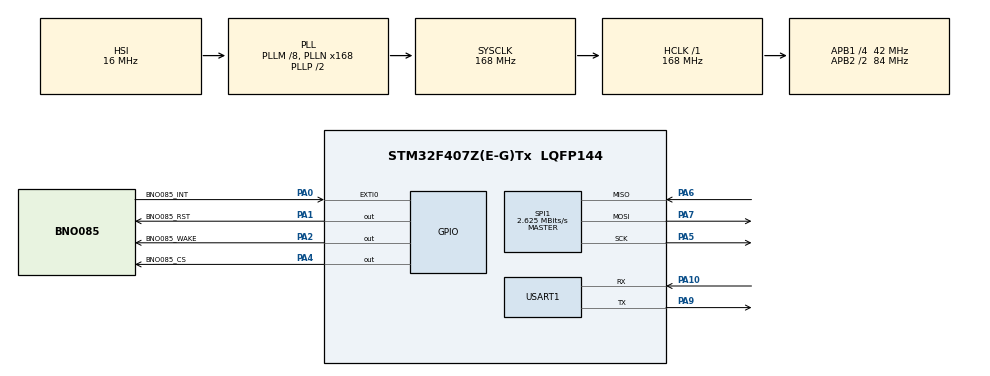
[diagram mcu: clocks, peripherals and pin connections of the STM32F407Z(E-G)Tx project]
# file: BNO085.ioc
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Dma.Request0=SPI1_RX
Dma.Request1=SPI1_TX
Dma.SPI1_RX.0.Direction=DMA_PERIPH_TO_MEMORY
Dma.SPI1_RX.0.FIFOMode=DMA_FIFOMODE_DISABLE
Dma.SPI1_RX.0.Instance=DMA2_Stream0
Dma.SPI1_RX.0.MemDataAlignment=DMA_MDATAALIGN_BYTE
Dma.SPI1_RX.0.MemInc=DMA_MINC_ENABLE
Dma.SPI1_RX.0.Mode=DMA_NORMAL
Dma.SPI1_RX.0.PeriphDataAlignment=DMA_PDATAALIGN_BYTE
Dma.SPI1_RX.0.PeriphInc=DMA_PINC_DISABLE
Dma.SPI1_RX.0.Priority=DMA_PRIORITY_HIGH
Dma.SPI1_TX.1.Direction=DMA_MEMORY_TO_PERIPH
Dma.SPI1_TX.1.FIFOMode=DMA_FIFOMODE_DISABLE
Dma.SPI1_TX.1.Instance=DMA2_Stream3
Dma.SPI1_TX.1.MemDataAlignment=DMA_MDATAALIGN_BYTE
Dma.SPI1_TX.1.MemInc=DMA_MINC_ENABLE
Dma.SPI1_TX.1.Mode=DMA_NORMAL
Dma.SPI1_TX.1.PeriphDataAlignment=DMA_PDATAALIGN_BYTE
Dma.SPI1_TX.1.PeriphInc=DMA_PINC_DISABLE
Dma.SPI1_TX.1.Priority=DMA_PRIORITY_HIGH
Mcu.Family=STM32F4
Mcu.Name=STM32F407Z(E-G)Tx
Mcu.Package=LQFP144
NVIC.DMA2_Stream0_IRQn=true\:1\:0\:false\:false\:true\:false\:true\:true
NVIC.DMA2_Stream3_IRQn=true\:1\:0\:false\:false\:true\:false\:true\:true
NVIC.EXTI0_IRQn=true\:2\:0\:true\:false\:true\:true\:true\:true
NVIC.PriorityGroup=NVIC_PRIORITYGROUP_4
PA0-WKUP.GPIO_Label=BNO085_INT
PA0-WKUP.GPIO_ModeDefaultEXTI=GPIO_MODE_IT_FALLING
PA0-WKUP.GPIO_PuPd=GPIO_PULLUP
PA0-WKUP.Signal=GPXTI0
PA1.GPIO_Label=BNO085_RST
PA1.GPIO_PuPd=GPIO_PULLUP
PA1.GPIO_Speed=GPIO_SPEED_FREQ_HIGH
PA1.PinState=GPIO_PIN_SET
PA1.Signal=GPIO_Output
PA10.Mode=Asynchronous
PA10.Signal=USART1_RX
PA13.Mode=Serial_Wire
PA13.Signal=SYS_JTMS-SWDIO
PA14.Mode=Serial_Wire
PA14.Signal=SYS_JTCK-SWCLK
PA2.GPIO_Label=BNO085_WAKE
PA2.GPIO_Speed=GPIO_SPEED_FREQ_HIGH
PA2.PinState=GPIO_PIN_SET
PA2.Signal=GPIO_Output
PA4.GPIO_Label=BNO085_CS
PA4.GPIO_PuPd=GPIO_PULLUP
PA4.GPIO_Speed=GPIO_SPEED_FREQ_HIGH
PA4.PinState=GPIO_PIN_SET
PA4.Signal=GPIO_Output
PA5.Mode=Full_Duplex_Master
PA5.Signal=SPI1_SCK
PA6.Mode=Full_Duplex_Master
PA6.Signal=SPI1_MISO
PA7.Mode=Full_Duplex_Master
PA7.Signal=SPI1_MOSI
PA9.Mode=Asynchronous
PA9.Signal=USART1_TX
PH0-OSC_IN.Mode=HSE-External-Oscillator
PH0-OSC_IN.Signal=RCC_OSC_IN
PH1-OSC_OUT.Mode=HSE-External-Oscillator
PH1-OSC_OUT.Signal=RCC_OSC_OUT
ProjectManager.HeapSize=0x200
ProjectManager.StackSize=0x400
ProjectManager.TargetToolchain=MDK-ARM V5.32
RCC.48MHZClocksFreq_Value=84000000
RCC.AHBFreq_Value=168000000
RCC.APB1CLKDivider=RCC_HCLK_DIV4
RCC.APB1Freq_Value=42000000
RCC.APB1TimFreq_Value=84000000
RCC.APB2CLKDivider=RCC_HCLK_DIV2
RCC.APB2Freq_Value=84000000
RCC.APB2TimFreq_Value=168000000
RCC.CortexFreq_Value=168000000
RCC.HCLKFreq_Value=168000000
RCC.HSE_VALUE=12000000
RCC.HSI_VALUE=16000000
RCC.LSE_VALUE=32768
RCC.PLLM=8
RCC.PLLN=168
RCC.SYSCLKFreq_VALUE=168000000
RCC.SYSCLKSource=RCC_SYSCLKSOURCE_PLLCLK
RCC.VCOOutputFreq_Value=336000000
SPI1.BaudRatePrescaler=SPI_BAUDRATEPRESCALER_32
SPI1.CLKPhase=SPI_PHASE_2EDGE
SPI1.CLKPolarity=SPI_POLARITY_HIGH
SPI1.CalculateBaudRate=2.625 MBits/s
SPI1.Direction=SPI_DIRECTION_2LINES
SPI1.Mode=SPI_MODE_MASTER
SPI1.VirtualType=VM_MASTER
USART1.VirtualMode=VM_ASYNC
board=custom

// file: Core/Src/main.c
/* USER CODE BEGIN Header */
/**
  ******************************************************************************
  * @file           : main.c
  * @brief          : Main program body
  ******************************************************************************
  * @attention
  *
  * Copyright (c) 2026 STMicroelectronics.
  * All rights reserved.
  *
  * This software is licensed under terms that can be found in the LICENSE file
  * in the root directory of this software component.
  * If no LICENSE file comes with this software, it is provided AS-IS.
  *
  ******************************************************************************
  */
/* USER CODE END Header */
#include "main.h"
#include "spi.h"
#include "usart.h"
#include "gpio.h"

/* USER CODE BEGIN Includes */
#include "bno085.h"
#include "bno085_port_stm32.h"
#include <stdio.h>
/* USER CODE END Includes */

/* USER CODE BEGIN PD */
#define BNO085_REPORT_INTERVAL_US  10000U
#define BNO085_MAG_INTERVAL_US     40000U
#define BNO085_YPR_PRINT_DIVIDER       4U
#define BNO085_SOFT_ERROR_LIMIT        3U
/* Set to 1 only when validating every optional report; normal demo stays lean.
   仅在验证全部可选报告时设为 1；日常示例保持较低总线负载。 */
#define BNO085_EXTENDED_VALIDATION     0U
/* USER CODE END PD */

/* USER CODE BEGIN PV */
static BNO085_ProductInfo_t product_info;
static uint32_t last_rotation_ms;
static float yaw_deg;
static float roll_deg;
static float pitch_deg;
static uint32_t rv_events_per_second;
static uint32_t game_events_per_second;
static uint32_t accel_events_per_second;
static uint32_t gyro_events_per_second;
static uint32_t mag_events_per_second;
static uint32_t stats_start_ms;
static uint32_t ypr_print_divider;
static uint32_t consecutive_transport_errors;
/* USER CODE END PV */

void SystemClock_Config(void);
/* USER CODE BEGIN PFP */
static void BNO085_Start(void);
static void bno085_process(void);
/* USER CODE END PFP */

/* USER CODE BEGIN 0 */
/**
 * @brief Configure, identify and start all demo SH-2 reports.
 *        配置平台层、读取产品信息，并启动示例所需的全部报告。
  *
  * This function retries the complete sequence after any startup failure.
  * 任一步启动失败都会延时后重新执行完整初始化流程。
  */
static void BNO085_Start(void)
{
  BNO085_STM32_PortConfig_t port;
  BNO085_Config_t driver_config;
  BNO085_Status_t status;

  /* Only this application/port boundary knows STM32 handles and GPIO pins.
     只有应用与适配层边界知道 STM32 句柄和具体引脚。 */
  port.spi = &hspi1;
  port.cs_port = BNO085_CS_GPIO_Port;
  port.cs_pin = BNO085_CS_Pin;
  port.wake_port = BNO085_WAKE_GPIO_Port;
  port.wake_pin = BNO085_WAKE_Pin;
  port.reset_port = BNO085_RST_GPIO_Port;
  port.reset_pin = BNO085_RST_Pin;
  port.interrupt_port = BNO085_INT_GPIO_Port;
  port.interrupt_pin = BNO085_INT_Pin;

  if (!BNO085_STM32_Port_Init(&port))
  {
    printf("BNO085 platform configuration is invalid\r\n");
    Error_Handler();
  }

  for (;;)
  {
    /* Hardware reset -> SHTP advertisement -> executable reset-complete.
       硬复位 -> SHTP 广告包 -> executable 通道启动完成。 */
    /* Start from portable defaults; applications may tune policy here without
       editing the protocol core. / 从默认策略开始，应用可集中调整超时与重试。 */
    BNO085_GetDefaultConfig(&driver_config);
    status = BNO085_InitWithConfig(&driver_config);
    if (status != BNO085_OK)
    {
      printf("BNO085 init failed: %s (%d)\r\n",
             BNO085_StatusString(status), status);
      HAL_Delay(1000U);
      continue;
    }

    /* Product ID proves channel 2 host-to-device commands work correctly.
       Product ID 成功说明 channel 2 的双向控制通信正常。 */
    status = BNO085_GetProductInfo(&product_info);
    if (status != BNO085_OK)
    {
      printf("BNO085 product ID failed: %s (%d)\r\n",
             BNO085_StatusString(status), status);
      HAL_Delay(1000U);
      continue;
    }

    printf("BNO085 part %lu, FW %u.%u.%u, build %lu, reset %u\r\n",
           product_info.sw_part_number,
           product_info.sw_major,
           product_info.sw_minor,
           product_info.sw_patch,
           product_info.build_number,
           product_info.reset_cause);

    /* Explicitly enable the three normal dynamic calibrators. The command
       response is matched before startup continues. / 显式启用三类常规动态
       校准，并等待匹配的命令响应后再继续启动。 */
    status = BNO085_SetCalibration(BNO085_CAL_ACCELEROMETER |
                                   BNO085_CAL_GYROSCOPE |
                                   BNO085_CAL_MAGNETOMETER |
                                   BNO085_CAL_ON_TABLE);
    if (status != BNO085_OK)
    {
      printf("BNO085 calibration configuration failed: %s (%d)\r\n",
             BNO085_StatusString(status), status);
      HAL_Delay(1000U);
      continue;
    }

    /* Enable the lower-rate magnetic report first.  Subsequent Set Feature
       writes can then fit into gaps between sensor packets more reliably.
       先启用低速磁场报告，让后续配置命令更容易落在报告间隙中。 */
    status = BNO085_EnableMagnetometer(BNO085_MAG_INTERVAL_US);
    if (status != BNO085_OK)
    {
      BNO085_Diagnostics_t diagnostics;
      printf("BNO085 magnetometer enable failed: %s (%d)\r\n",
             BNO085_StatusString(status), status);
      if (BNO085_GetDiagnostics(&diagnostics) == BNO085_OK)
      {
        printf("Feature 0x%02X req/actual: int=%lu/%lu batch=%lu/%lu "
               "sens=%u/%u spec=%lu/%lu flags=0x%02X/0x%02X\r\n",
               diagnostics.last_feature_id,
               diagnostics.requested_interval_us,
               diagnostics.effective_interval_us,
               diagnostics.requested_batch_interval_us,
               diagnostics.effective_batch_interval_us,
               diagnostics.requested_change_sensitivity,
               diagnostics.effective_change_sensitivity,
               diagnostics.requested_sensor_specific,
               diagnostics.effective_sensor_specific,
               diagnostics.requested_feature_flags,
               diagnostics.effective_feature_flags);
      }
      HAL_Delay(1000U);
      continue;
    }

    status = BNO085_EnableGyroscope(BNO085_REPORT_INTERVAL_US);
    if (status != BNO085_OK)
    {
      printf("BNO085 gyroscope enable failed: %s (%d)\r\n",
             BNO085_StatusString(status), status);
      HAL_Delay(1000U);
      continue;
    }

    status = BNO085_EnableGameRotationVector(BNO085_REPORT_INTERVAL_US);
    if (status != BNO085_OK)
    {
      printf("BNO085 game rotation vector enable failed: %s (%d)\r\n",
             BNO085_StatusString(status), status);
      HAL_Delay(1000U);
      continue;
    }

    /* Set Feature interval is in microseconds: 10000 us = 100 Hz.
       Set Feature 周期单位为微秒：10000 us 即 100 Hz。 */
    status = BNO085_EnableAccelerometer(BNO085_REPORT_INTERVAL_US);
    if (status != BNO085_OK)
    {
      BNO085_Diagnostics_t diagnostics;
      printf("BNO085 accelerometer enable failed: %s (%d)\r\n",
             BNO085_StatusString(status), status);
      if (BNO085_GetDiagnostics(&diagnostics) == BNO085_OK)
      {
        printf("Feature 0x%02X interval requested=%lu actual=%lu us\r\n",
               diagnostics.last_feature_id,
               diagnostics.requested_interval_us,
               diagnostics.effective_interval_us);
      }
      HAL_Delay(1000U);
      continue;
    }

    status = BNO085_EnableRotationVector(BNO085_REPORT_INTERVAL_US);
    if (status != BNO085_OK)
    {
      printf("BNO085 enable command failed: %s (%d)\r\n",
             BNO085_StatusString(status), status);
      HAL_Delay(1000U);
      continue;
    }

#if BNO085_EXTENDED_VALIDATION
    status = BNO085_EnableLinearAcceleration(BNO085_MAG_INTERVAL_US);
    if (status == BNO085_OK) status = BNO085_EnableGravity(BNO085_MAG_INTERVAL_US);
    if (status == BNO085_OK) status = BNO085_EnableUncalibratedGyroscope(BNO085_MAG_INTERVAL_US);
    if (status == BNO085_OK) status = BNO085_EnableUncalibratedMagnetometer(BNO085_MAG_INTERVAL_US);
    if (status == BNO085_OK) status = BNO085_EnableRawAccelerometer(BNO085_MAG_INTERVAL_US);
    if (status == BNO085_OK) status = BNO085_EnableRawGyroscope(BNO085_MAG_INTERVAL_US);
    if (status == BNO085_OK) status = BNO085_EnableRawMagnetometer(BNO085_MAG_INTERVAL_US);
    if (status != BNO085_OK)
    {
      printf("BNO085 extended report enable failed: %s (%d)\r\n",
             BNO085_StatusString(status), status);
      HAL_Delay(1000U);
      continue;
    }
#endif

    /* Do not regard a successful Set Feature write as proof of sensor output.
       Wait until every enabled report has actually been decoded and cached.
       Set Feature 写成功不等于已有数据，所有已启用报告都真正到达后才算启动成功。 */
    {
      uint32_t start_ms = HAL_GetTick();
      uint32_t events = 0U;
      uint32_t seen_events = 0U;
      float accel_x;
      float accel_y;
      float accel_z;
      BNO085_Gyroscope_t gyro;
      BNO085_Magnetometer_t mag;
      BNO085_Euler_t game_euler;
      uint32_t required_events =
          BNO085_EVENT_ROTATION_VECTOR |
          BNO085_EVENT_GAME_ROTATION_VECTOR |
          BNO085_EVENT_ACCELEROMETER |
          BNO085_EVENT_GYROSCOPE |
          BNO085_EVENT_MAGNETOMETER;
#if BNO085_EXTENDED_VALIDATION
      required_events |= BNO085_EVENT_LINEAR_ACCELERATION |
                         BNO085_EVENT_GRAVITY |
                         BNO085_EVENT_GYROSCOPE_UNCAL |
                         BNO085_EVENT_MAGNETOMETER_UNCAL |
                         BNO085_EVENT_RAW_ACCELEROMETER |
                         BNO085_EVENT_RAW_GYROSCOPE |
                         BNO085_EVENT_RAW_MAGNETOMETER;
#endif

      do
      {
        status = BNO085_Poll(1000U, &events);
        if (status == BNO085_OK)
        {
          /* A cargo can contain one or both enabled reports. / 一个包可含一种或两种报告。 */
          seen_events |= events;
        }
      } while ((status == BNO085_OK) &&
               ((seen_events & required_events) != required_events) &&
               ((uint32_t)(HAL_GetTick() - start_ms) < 2000U));

      /* These six calls read cache only; no additional SPI transactions.
         这六个 Getter 只读缓存，不会再次访问 SPI。 */
      if ((status == BNO085_OK) &&
          (BNO085_GetYaw(&yaw_deg) == BNO085_OK) &&
          (BNO085_GetRoll(&roll_deg) == BNO085_OK) &&
          (BNO085_GetPitch(&pitch_deg) == BNO085_OK) &&
          (BNO085_GetAccelerationX(&accel_x) == BNO085_OK) &&
          (BNO085_GetAccelerationY(&accel_y) == BNO085_OK) &&
          (BNO085_GetAccelerationZ(&accel_z) == BNO085_OK) &&
          (BNO085_GetGyroscope(&gyro) == BNO085_OK) &&
          (BNO085_GetMagnetometer(&mag) == BNO085_OK) &&
          (BNO085_GetGameEuler(&game_euler) == BNO085_OK))
      {
        printf("ACC: x=%6.2f y=%6.2f z=%6.2f m/s^2\r\n",
               accel_x, accel_y, accel_z);
        printf("GYRO: x=%6.3f y=%6.3f z=%6.3f rad/s acc=%u\r\n",
               gyro.x_rps, gyro.y_rps, gyro.z_rps, gyro.accuracy);
        printf("MAG: x=%6.2f y=%6.2f z=%6.2f uT acc=%u\r\n",
               mag.x_uT, mag.y_uT, mag.z_uT, mag.accuracy);
        printf("GAME YPR: yaw=%7.2f roll=%7.2f pitch=%7.2f deg\r\n",
               game_euler.yaw_deg, game_euler.roll_deg,
               game_euler.pitch_deg);
#if BNO085_EXTENDED_VALIDATION
        {
          BNO085_LinearAcceleration_t linear;
          BNO085_Gravity_t gravity;
          BNO085_UncalibratedGyroscope_t uncal_gyro;
          BNO085_UncalibratedMagnetometer_t uncal_mag;
          BNO085_RawVector_t raw_accel, raw_mag;
          BNO085_RawGyroscope_t raw_gyro;
          if ((BNO085_GetLinearAcceleration(&linear) == BNO085_OK) &&
              (BNO085_GetGravity(&gravity) == BNO085_OK) &&
              (BNO085_GetUncalibratedGyroscope(&uncal_gyro) == BNO085_OK) &&
              (BNO085_GetUncalibratedMagnetometer(&uncal_mag) == BNO085_OK) &&
              (BNO085_GetRawAccelerometer(&raw_accel) == BNO085_OK) &&
              (BNO085_GetRawGyroscope(&raw_gyro) == BNO085_OK) &&
              (BNO085_GetRawMagnetometer(&raw_mag) == BNO085_OK))
          {
            printf("EXT OK: lin=%.2f grav=%.2f gyro_bias=%.3f mag_bias=%.2f raw=%d/%d/%d\r\n",
                   linear.x_mps2, gravity.z_mps2,
                   uncal_gyro.bias_x_rps, uncal_mag.bias_x_uT,
                   raw_accel.x_counts, raw_gyro.x_counts, raw_mag.x_counts);
          }
          else
          {
            status = BNO085_ERR_NO_DATA;
          }
        }
#endif
      }
      else if (status == BNO085_OK)
      {
        status = BNO085_ERR_TIMEOUT;
      }
    }

    if (status == BNO085_OK)
    {
      printf("BNO085 DMA stream: RV/GAME/ACC/GYRO=100 Hz, MAG=25 Hz\r\n");
      last_rotation_ms = HAL_GetTick();
      stats_start_ms = last_rotation_ms;
      rv_events_per_second = 0U;
      game_events_per_second = 0U;
      accel_events_per_second = 0U;
      gyro_events_per_second = 0U;
      mag_events_per_second = 0U;
      ypr_print_divider = 0U;
      consecutive_transport_errors = 0U;
      return;
    }

    printf("BNO085 produced no required sensor data: %s (%d)\r\n",
           BNO085_StatusString(status), status);
    HAL_Delay(1000U);
  }
}

/**
 * @brief Advance BNO085 DMA I/O and handle all application-level events.
 *        推进 BNO085 DMA 收包，并集中处理数据、统计和故障恢复。
 *
 * This function never waits for SPI completion.  When DMA is not ready,
 * BNO085_PollAsync() returns BNO085_PENDING and the caller can immediately
 * continue with other application work.
 * 本函数不等待 SPI；DMA 尚未完成时立即返回，主循环可继续处理其他任务。
 */
static void bno085_process(void)
{
  uint32_t events = 0U;
  BNO085_Status_t status = BNO085_Process(&events);

  if ((status != BNO085_OK) && (status != BNO085_PENDING))
  {
    BNO085_Diagnostics_t diagnostics;

    printf("BNO085 read failed: %s (%d)\r\n",
           BNO085_StatusString(status), status);
    consecutive_transport_errors++;
    if (consecutive_transport_errors >= BNO085_SOFT_ERROR_LIMIT)
    {
      /* Tier 2: rebuild only SPI/DMA. SH-2 keeps its enabled reports, making
         this much cheaper than a sensor reset. / 二级恢复：只重建 SPI/DMA。 */
      BNO085_Status_t recovery = BNO085_RecoverTransport();
      if (BNO085_GetDiagnostics(&diagnostics) == BNO085_OK)
      {
        printf("BNO085 transport recovery: %s, HAL=0x%08lX\r\n",
               BNO085_StatusString(recovery), diagnostics.port_raw_error);
      }
      consecutive_transport_errors = 0U;
    }
  }
  else if (status == BNO085_OK)
  {
    /* One good complete packet proves framing and DMA are synchronized again.
       一个完整好包说明总线和 DMA 已恢复同步。 */
    consecutive_transport_errors = 0U;
  }

  /* Count decoded reports for a simple one-second hardware sanity check.
     统计每秒报告数，直接验证 Set Feature 与 DMA 收包是否正常。 */
  if ((events & BNO085_EVENT_ACCELEROMETER) != 0U) accel_events_per_second++;
  if ((events & BNO085_EVENT_GYROSCOPE) != 0U) gyro_events_per_second++;
  if ((events & BNO085_EVENT_MAGNETOMETER) != 0U) mag_events_per_second++;
  if ((events & BNO085_EVENT_GAME_ROTATION_VECTOR) != 0U) game_events_per_second++;

  if ((status == BNO085_OK) &&
      ((events & BNO085_EVENT_ROTATION_VECTOR) != 0U) &&
      (BNO085_GetYaw(&yaw_deg) == BNO085_OK) &&
      (BNO085_GetRoll(&roll_deg) == BNO085_OK) &&
      (BNO085_GetPitch(&pitch_deg) == BNO085_OK))
  {
    /* All three angles belong to one cached rotation-vector frame.
       三个角度均来自同一帧缓存。 */
    last_rotation_ms = HAL_GetTick();
    rv_events_per_second++;
    ypr_print_divider++;
    if (ypr_print_divider >= BNO085_YPR_PRINT_DIVIDER)
    {
      ypr_print_divider = 0U;
      printf("YPR: yaw=%7.2f roll=%7.2f pitch=%7.2f deg\r\n",
             yaw_deg, roll_deg, pitch_deg);
    }
  }

  if ((uint32_t)(HAL_GetTick() - stats_start_ms) >= 1000U)
  {
    BNO085_Gyroscope_t gyro;
    BNO085_Magnetometer_t mag;
    BNO085_Euler_t game_euler;
    BNO085_Diagnostics_t diagnostics;

    printf("RATE/s: rv=%lu game=%lu acc=%lu gyro=%lu mag=%lu\r\n",
           rv_events_per_second, game_events_per_second,
           accel_events_per_second, gyro_events_per_second,
           mag_events_per_second);
    if ((BNO085_GetGyroscope(&gyro) == BNO085_OK) &&
        (BNO085_GetMagnetometer(&mag) == BNO085_OK) &&
        (BNO085_GetGameEuler(&game_euler) == BNO085_OK))
    {
      printf("GYRO[%u]: %6.3f %6.3f %6.3f rad/s  MAG[%u]: %6.2f %6.2f %6.2f uT\r\n",
             gyro.accuracy, gyro.x_rps, gyro.y_rps, gyro.z_rps,
             mag.accuracy, mag.x_uT, mag.y_uT, mag.z_uT);
      printf("GAME YPR: yaw=%7.2f roll=%7.2f pitch=%7.2f deg\r\n",
             game_euler.yaw_deg, game_euler.roll_deg,
             game_euler.pitch_deg);
    }
    if (BNO085_GetDiagnostics(&diagnostics) == BNO085_OK)
    {
      printf("DIAG: pkt=%lu shtp_gap=%lu sensor_gap=%lu bad=%lu cont=%lu io=%lu dma_to=%lu recover=%lu reset=%lu\r\n",
             diagnostics.shtp_packets, diagnostics.shtp_sequence_gaps,
             diagnostics.sensor_sequence_gaps,
             diagnostics.invalid_packets, diagnostics.continuation_packets,
             diagnostics.port_errors, diagnostics.dma_timeouts,
             diagnostics.transport_recoveries, diagnostics.hard_resets);
    }
    stats_start_ms = HAL_GetTick();
    rv_events_per_second = 0U;
    game_events_per_second = 0U;
    accel_events_per_second = 0U;
    gyro_events_per_second = 0U;
    mag_events_per_second = 0U;
  }

  /* Other reports may continue while Rotation Vector stalls, so recovery is
     based specifically on the last Rotation Vector event.
     其他报告仍可能到达，故恢复仅以最后姿态帧为准。 */
  if ((uint32_t)(HAL_GetTick() - last_rotation_ms) >= 1000U)
  {
    printf("BNO085: no rotation data for 1 second, restarting\r\n");
    BNO085_Start();
  }
}
/* USER CODE END 0 */

int main(void)
{

  /* MCU Configuration--------------------------------------------------------*/

  /* Reset of all peripherals, Initializes the Flash interface and the Systick. */
  HAL_Init();

  /* Configure the system clock */
  SystemClock_Config();

  /* Initialize all configured peripherals */
  MX_GPIO_Init();
  MX_USART1_UART_Init();
  MX_SPI1_Init();
  printf("BNO085 demo boot (SPI DMA)\r\n");
  /* USER CODE BEGIN 2 */
  BNO085_Start();
  /* USER CODE END 2 */

  /* Infinite loop */
  /* USER CODE BEGIN WHILE */
  while (1)
  {
    /* Non-blocking service: unfinished DMA returns immediately.
       非阻塞服务：DMA 未完成就立即返回。 */
    bno085_process();
    /* USER CODE END WHILE */

  }
}

void SystemClock_Config(void)
{
  RCC_OscInitTypeDef RCC_OscInitStruct = {0};
  RCC_ClkInitTypeDef RCC_ClkInitStruct = {0};

  /** Configure the main internal regulator output voltage
  */
  __HAL_RCC_PWR_CLK_ENABLE();
  __HAL_PWR_VOLTAGESCALING_CONFIG(PWR_REGULATOR_VOLTAGE_SCALE1);

  /** Initializes the RCC Oscillators according to the specified parameters
  * in the RCC_OscInitTypeDef structure.
  */
  RCC_OscInitStruct.OscillatorType = RCC_OSCILLATORTYPE_HSI;
  RCC_OscInitStruct.HSIState = RCC_HSI_ON;
  RCC_OscInitStruct.HSICalibrationValue = RCC_HSICALIBRATION_DEFAULT;
  RCC_OscInitStruct.PLL.PLLState = RCC_PLL_ON;
  RCC_OscInitStruct.PLL.PLLSource = RCC_PLLSOURCE_HSI;
  RCC_OscInitStruct.PLL.PLLM = 8;
  RCC_OscInitStruct.PLL.PLLN = 168;
  RCC_OscInitStruct.PLL.PLLP = RCC_PLLP_DIV2;
  RCC_OscInitStruct.PLL.PLLQ = 4;
  if (HAL_RCC_OscConfig(&RCC_OscInitStruct) != HAL_OK)
  {
    Error_Handler();
  }

  /** Initializes the CPU, AHB and APB buses clocks
  */
  RCC_ClkInitStruct.ClockType = RCC_CLOCKTYPE_HCLK|RCC_CLOCKTYPE_SYSCLK
                              |RCC_CLOCKTYPE_PCLK1|RCC_CLOCKTYPE_PCLK2;
  RCC_ClkInitStruct.SYSCLKSource = RCC_SYSCLKSOURCE_PLLCLK;
  RCC_ClkInitStruct.AHBCLKDivider = RCC_SYSCLK_DIV1;
  RCC_ClkInitStruct.APB1CLKDivider = RCC_HCLK_DIV4;
  RCC_ClkInitStruct.APB2CLKDivider = RCC_HCLK_DIV2;

  if (HAL_RCC_ClockConfig(&RCC_ClkInitStruct, FLASH_LATENCY_5) != HAL_OK)
  {
    Error_Handler();
  }
}

void Error_Handler(void)
{
  __disable_irq();
  while (1)
  {
  }
}
